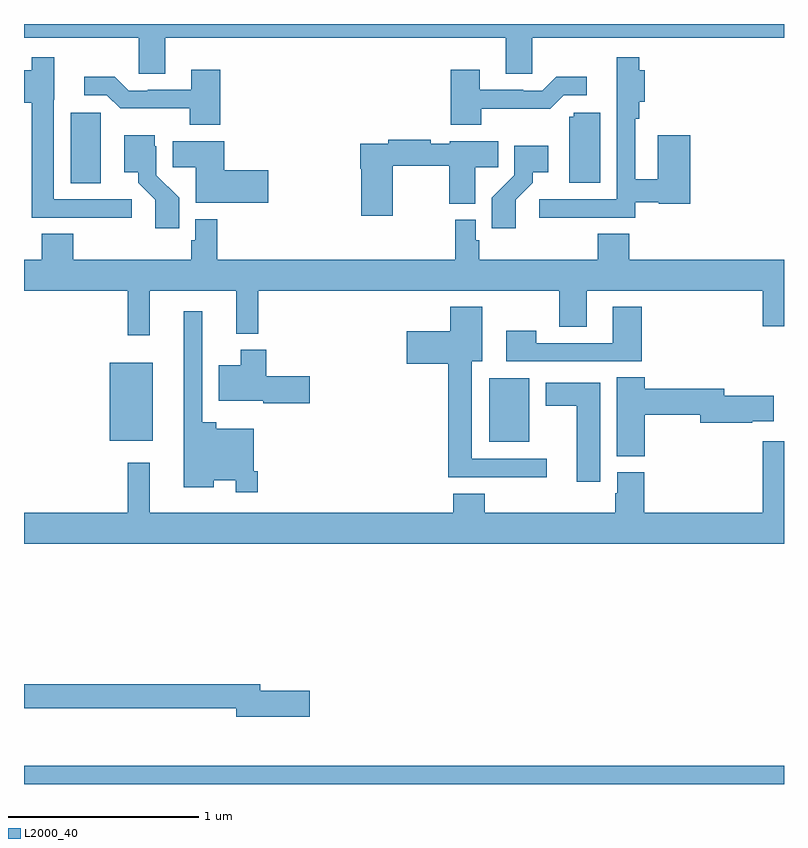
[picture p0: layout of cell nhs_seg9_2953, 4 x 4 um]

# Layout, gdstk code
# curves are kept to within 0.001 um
import gdstk
lib = gdstk.Library(unit=1e-6, precision=1e-09)
def R(c, l, rs):  # rectangles x0, y0, x1, y1
    for r in rs: c.add(gdstk.rectangle(r[:2], r[2:], *l))
def P(c, l, *ps):  # polygons
    for p in ps: c.add(gdstk.Polygon(p, *l))
L2000_40 = (2000, 40)

nhs_seg9_2953 = lib.new_cell('nhs_seg9_2953')
R(nhs_seg9_2953, L2000_40, [(281,1184.5,285,1184.596), (283.448,1186.301,283.66,1186.636), (281.45,1186.307,281.677,1186.717), (281.246,1187.662,281.404,1188.033)])
P(nhs_seg9_2953, L2000_40, [(281,1188.428),(281.604,1188.428),(281.604,1188.238),(281.743,1188.238),(281.743,1188.428),(283.535,1188.428),(283.535,1188.238),(283.674,1188.238),(283.674,1188.428),(285,1188.428),(285,1188.5),(281,1188.5)],
  [(281.566,1187.577),(281.157,1187.577),(281.157,1188.102),(281.158,1188.102),(281.158,1188.325),(281.041,1188.325),(281.041,1188.256),(281,1188.256),(281,1188.086),(281.041,1188.086),(281.041,1187.481),(281.341,1187.481),(281.341,1187.479),(281.566,1187.479)],
  [(283.937,1187.481),(284.217,1187.481),(284.217,1187.562),(284.34,1187.562),(284.34,1187.554),(284.507,1187.554),(284.507,1187.914),(284.336,1187.914),(284.336,1187.683),(284.217,1187.683),(284.217,1188.002),(284.237,1188.002),(284.237,1188.091),(284.267,1188.091),(284.267,1188.256),(284.237,1188.256),(284.237,1188.325),(284.12,1188.325),(284.12,1188.102),(284.121,1188.102),(284.121,1187.577),(283.713,1187.577),(283.713,1187.479),(283.937,1187.479)],
  [(283.407,1188.054),(283.769,1188.053),(283.842,1188.126),(283.963,1188.126),(283.963,1188.223),(283.801,1188.223),(283.728,1188.15),(283.628,1188.15),(283.628,1188.153),(283.399,1188.153),(283.399,1188.259),(283.247,1188.259),(283.247,1187.969),(283.407,1187.969)],
  [(282.032,1188.259),(281.879,1188.259),(281.879,1188.153),(281.65,1188.153),(281.65,1188.15),(281.55,1188.15),(281.477,1188.223),(281.316,1188.223),(281.316,1188.126),(281.436,1188.126),(281.507,1188.056),(281.872,1188.056),(281.872,1187.969),(282.032,1187.969)],
  [(284.032,1188.033),(283.893,1188.033),(283.893,1188.012),(283.871,1188.012),(283.871,1187.664),(284.032,1187.664)],
  [(281.816,1187.586),(281.697,1187.705),(281.697,1187.856),(281.689,1187.856),(281.689,1187.914),(281.528,1187.914),(281.528,1187.72),(281.6,1187.72),(281.6,1187.665),(281.691,1187.575),(281.691,1187.424),(281.816,1187.424)],
  [(282.94,1187.755),(283.238,1187.755),(283.238,1187.555),(283.375,1187.555),(283.375,1187.746),(283.496,1187.746),(283.496,1187.884),(283.242,1187.884),(283.242,1187.871),(283.142,1187.871),(283.142,1187.891),(282.916,1187.891),(282.916,1187.871),(282.77,1187.871),(282.77,1187.738),(282.775,1187.738),(282.775,1187.49),(282.94,1187.49)],
  [(282.286,1187.729),(282.053,1187.729),(282.053,1187.884),(281.782,1187.884),(281.782,1187.746),(281.903,1187.746),(281.903,1187.558),(282.286,1187.558)],
  [(283.588,1187.575),(283.678,1187.665),(283.678,1187.72),(283.759,1187.72),(283.759,1187.86),(283.581,1187.86),(283.581,1187.705),(283.462,1187.586),(283.462,1187.424),(283.588,1187.424)],
  [(281.258,1187.396),(281.093,1187.396),(281.093,1187.26),(281,1187.26),(281,1187.096),(281.545,1187.096),(281.545,1186.863),(281.663,1186.863),(281.663,1187.096),(282.116,1187.096),(282.116,1186.871),(282.233,1186.871),(282.233,1187.096),(283.816,1187.096),(283.816,1186.906),(283.963,1186.906),(283.963,1187.096),(284.888,1187.096),(284.888,1186.908),(285,1186.908),(285,1187.26),(284.186,1187.26),(284.186,1187.396),(284.021,1187.396),(284.021,1187.26),(283.397,1187.26),(283.397,1187.361),(283.377,1187.361),(283.377,1187.47),(283.269,1187.47),(283.269,1187.26),(282.017,1187.26),(282.017,1187.473),(281.901,1187.473),(281.901,1187.361),(281.881,1187.361),(281.881,1187.26),(281.258,1187.26)],
  [(283.75,1186.212),(283.357,1186.212),(283.357,1186.724),(283.411,1186.724),(283.411,1187.011),(283.244,1187.011),(283.244,1186.882),(283.014,1186.882),(283.014,1186.712),(283.232,1186.712),(283.232,1186.115),(283.75,1186.115)],
  [(284.252,1187.011),(284.099,1187.011),(284.099,1186.821),(283.695,1186.821),(283.695,1186.885),(283.539,1186.885),(283.539,1186.725),(284.252,1186.725)],
  [(282.23,1186.147),(282.21,1186.147),(282.21,1186.369),(282.011,1186.369),(282.011,1186.405),(281.937,1186.405),(281.937,1186.987),(281.84,1186.987),(281.84,1186.061),(281.998,1186.061),(281.998,1186.1),(282.114,1186.1),(282.114,1186.035),(282.23,1186.035)],
  [(282.505,1186.647),(282.275,1186.647),(282.275,1186.786),(282.14,1186.786),(282.14,1186.705),(282.026,1186.705),(282.026,1186.517),(282.258,1186.517),(282.258,1186.505),(282.505,1186.505)],
  [(284.267,1186.444),(284.558,1186.444),(284.558,1186.402),(284.834,1186.402),(284.834,1186.409),(284.947,1186.409),(284.947,1186.544),(284.686,1186.544),(284.686,1186.58),(284.267,1186.58),(284.267,1186.64),(284.12,1186.64),(284.12,1186.225),(284.267,1186.225)],
  [(284.032,1186.612),(283.745,1186.612),(283.745,1186.49),(283.91,1186.49),(283.91,1186.092),(284.032,1186.092)],
  [(285,1186.303),(284.888,1186.303),(284.888,1185.928),(284.264,1185.928),(284.264,1186.14),(284.123,1186.14),(284.123,1186.029),(284.111,1186.029),(284.111,1185.928),(283.424,1185.928),(283.424,1186.027),(283.259,1186.027),(283.259,1185.928),(281.662,1185.928),(281.662,1186.192),(281.545,1186.192),(281.545,1185.928),(281,1185.928),(281,1185.764),(285,1185.764)],
  [(282.505,1184.99),(282.244,1184.99),(282.244,1185.026),(281,1185.026),(281,1184.898),(282.116,1184.898),(282.116,1184.855),(282.505,1184.855)])

lib.write_gds('nhs_seg9_2953.gds')
